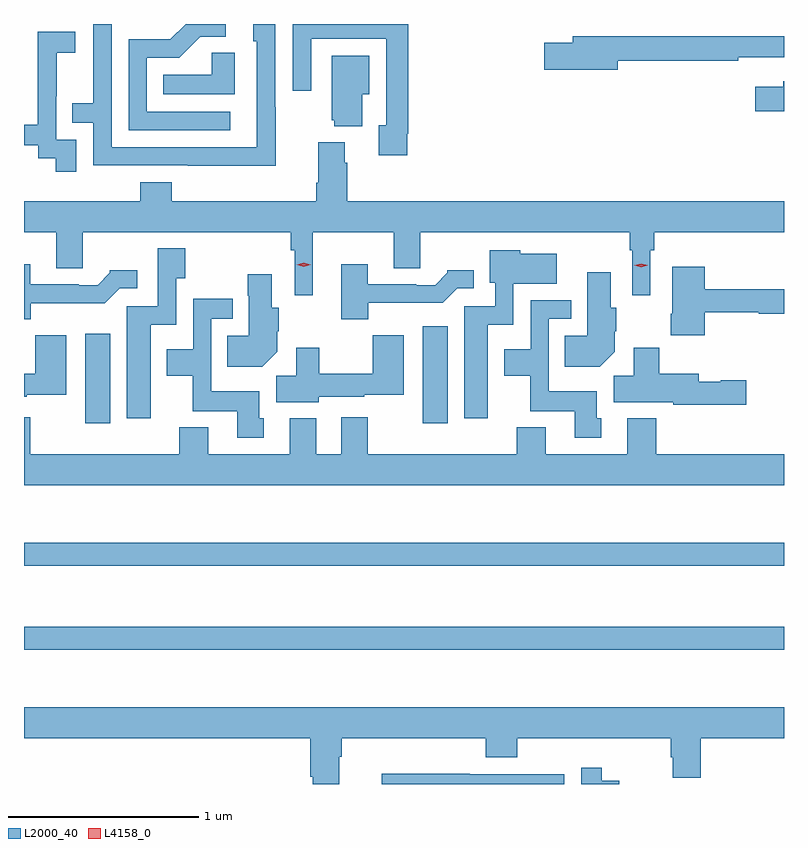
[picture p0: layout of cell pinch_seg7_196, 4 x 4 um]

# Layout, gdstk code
import gdstk
lib = gdstk.Library(unit=1e-6, precision=1e-09)
def R(c, l, rs):  # rectangles x0, y0, x1, y1
    for r in rs: c.add(gdstk.rectangle(r[:2], r[2:], *l))
def P(c, l, *ps):  # polygons
    for p in ps: c.add(gdstk.Polygon(p, *l))
L2000_40 = (2000, 40)
L4158_0 = (4158, 0)

pinch_seg7_196 = lib.new_cell('pinch_seg7_196')
R(pinch_seg7_196, L2000_40, [(658.324,1069.014,662.324,1069.135), (658.324,1069.458,662.324,1069.579), (658.646,1070.208,658.777,1070.677), (660.422,1070.208,660.553,1070.716)])
P(pinch_seg7_196, L2000_40, [(660.34,1071.73),(660.347,1071.73),(660.347,1072.308),(659.739,1072.308),(659.739,1071.957),(659.835,1071.957),(659.835,1072.23),(660.231,1072.23),(660.231,1071.774),(660.191,1071.774),(660.191,1071.618),(660.34,1071.618)],
  [(659.649,1071.869),(659.646,1071.869),(659.646,1072.308),(659.531,1072.308),(659.531,1072.218),(659.55,1072.218),(659.55,1071.66),(658.785,1071.66),(658.785,1072.308),(658.689,1072.308),(658.689,1071.89),(658.579,1071.89),(658.579,1071.789),(658.689,1071.789),(658.689,1071.564),(659.185,1071.564),(659.185,1071.563),(659.649,1071.563)],
  [(659.41,1071.846),(658.971,1071.846),(658.971,1072.131),(659.14,1072.131),(659.251,1072.242),(659.386,1072.242),(659.386,1072.308),(659.175,1072.308),(659.094,1072.227),(658.875,1072.227),(658.875,1071.75),(659.41,1071.75)],
  [(658.599,1071.699),(658.494,1071.699),(658.494,1071.929),(658.496,1071.929),(658.496,1072.157),(658.594,1072.157),(658.594,1072.267),(658.396,1072.267),(658.396,1072.061),(658.397,1072.061),(658.397,1071.778),(658.324,1071.778),(658.324,1071.669),(658.398,1071.669),(658.398,1071.601),(658.491,1071.601),(658.491,1071.531),(658.599,1071.531)],
  [(661.45,1072.114),(662.084,1072.114),(662.084,1072.134),(662.324,1072.134),(662.324,1072.243),(661.211,1072.243),(661.211,1072.209),(661.062,1072.209),(661.062,1072.067),(661.45,1072.067)],
  [(659.434,1072.157),(659.313,1072.157),(659.313,1072.042),(659.056,1072.042),(659.056,1071.938),(659.434,1071.938)],
  [(660.103,1071.938),(660.142,1071.938),(660.142,1072.141),(659.945,1072.141),(659.945,1071.801),(659.957,1071.801),(659.957,1071.77),(660.103,1071.77)],
  [(662.324,1072.008),(662.321,1072.008),(662.321,1071.979),(662.172,1071.979),(662.172,1071.85),(662.324,1071.85)],
  [(659.845,1071.212),(660.269,1071.212),(660.269,1071.022),(660.409,1071.022),(660.409,1071.212),(661.512,1071.212),(661.512,1071.116),(661.524,1071.116),(661.524,1070.88),(661.62,1070.88),(661.62,1071.116),(661.64,1071.116),(661.64,1071.212),(662.324,1071.212),(662.324,1071.376),(660.026,1071.376),(660.026,1071.578),(660.013,1071.578),(660.013,1071.685),(659.873,1071.685),(659.873,1071.472),(659.861,1071.472),(659.861,1071.376),(659.102,1071.376),(659.102,1071.475),(658.937,1071.475),(658.937,1071.376),(658.324,1071.376),(658.324,1071.212),(658.493,1071.212),(658.493,1071.022),(658.633,1071.022),(658.633,1071.212),(659.728,1071.212),(659.728,1071.116),(659.748,1071.116),(659.748,1070.88),(659.845,1070.88)],
  [(658.99,1070.726),(659.124,1070.726),(659.124,1070.971),(659.172,1070.971),(659.172,1071.127),(659.028,1071.127),(659.028,1070.823),(658.865,1070.823),(658.865,1070.232),(658.99,1070.232)],
  [(660.766,1070.726),(660.9,1070.726),(660.9,1070.942),(661.129,1070.942),(661.129,1071.1),(660.936,1071.1),(660.936,1071.118),(660.776,1071.118),(660.776,1070.946),(660.804,1070.946),(660.804,1070.823),(660.641,1070.823),(660.641,1070.232),(660.766,1070.232)],
  [(660.136,1070.84),(660.527,1070.84),(660.603,1070.916),(660.691,1070.916),(660.691,1071.013),(660.552,1071.013),(660.552,1070.998),(660.488,1070.934),(660.389,1070.934),(660.389,1070.937),(660.133,1070.937),(660.133,1071.043),(659.993,1071.043),(659.993,1070.753),(660.136,1070.753)],
  [(658.36,1070.838),(658.749,1070.838),(658.827,1070.916),(658.921,1070.916),(658.921,1071.013),(658.776,1071.013),(658.776,1070.998),(658.712,1070.934),(658.613,1070.934),(658.613,1070.937),(658.357,1070.937),(658.357,1071.043),(658.324,1071.043),(658.324,1070.753),(658.36,1070.753)],
  [(661.907,1070.79),(662.19,1070.79),(662.19,1070.782),(662.324,1070.782),(662.324,1070.911),(661.907,1070.911),(661.907,1071.031),(661.736,1071.031),(661.736,1070.782),(661.729,1070.782),(661.729,1070.67),(661.907,1070.67)],
  [(661.432,1070.582),(661.432,1070.692),(661.44,1070.692),(661.44,1070.814),(661.411,1070.814),(661.411,1071.001),(661.289,1071.001),(661.289,1070.668),(661.171,1070.668),(661.171,1070.504),(661.354,1070.504)],
  [(659.656,1070.582),(659.656,1070.692),(659.664,1070.692),(659.664,1070.814),(659.629,1070.814),(659.629,1070.992),(659.502,1070.992),(659.502,1070.879),(659.507,1070.879),(659.507,1070.668),(659.395,1070.668),(659.395,1070.504),(659.578,1070.504)],
  [(659.587,1070.232),(659.563,1070.232),(659.563,1070.374),(659.31,1070.374),(659.31,1070.757),(659.422,1070.757),(659.422,1070.863),(659.214,1070.863),(659.214,1070.596),(659.075,1070.596),(659.075,1070.456),(659.212,1070.456),(659.212,1070.27),(659.447,1070.27),(659.447,1070.13),(659.587,1070.13)],
  [(661.363,1070.232),(661.339,1070.232),(661.339,1070.374),(661.086,1070.374),(661.086,1070.757),(661.204,1070.757),(661.204,1070.853),(660.99,1070.853),(660.99,1070.596),(660.851,1070.596),(660.851,1070.456),(660.988,1070.456),(660.988,1070.27),(661.223,1070.27),(661.223,1070.13),(661.363,1070.13)],
  [(659.874,1070.345),(660.114,1070.345),(660.114,1070.357),(660.322,1070.357),(660.322,1070.671),(660.16,1070.671),(660.16,1070.467),(659.878,1070.467),(659.878,1070.605),(659.756,1070.605),(659.756,1070.456),(659.651,1070.456),(659.651,1070.318),(659.874,1070.318)],
  [(658.338,1070.357),(658.546,1070.357),(658.546,1070.671),(658.384,1070.671),(658.384,1070.467),(658.324,1070.467),(658.324,1070.345),(658.338,1070.345)],
  [(662.125,1070.433),(661.992,1070.433),(661.992,1070.425),(661.876,1070.425),(661.876,1070.467),(661.667,1070.467),(661.667,1070.605),(661.532,1070.605),(661.532,1070.456),(661.427,1070.456),(661.427,1070.318),(661.74,1070.318),(661.74,1070.303),(662.125,1070.303)],
  [(662.324,1070.044),(661.652,1070.044),(661.652,1070.233),(661.499,1070.233),(661.499,1070.044),(661.069,1070.044),(661.069,1070.185),(660.917,1070.185),(660.917,1070.044),(660.133,1070.044),(660.133,1070.239),(659.993,1070.239),(659.993,1070.044),(659.863,1070.044),(659.863,1070.233),(659.723,1070.233),(659.723,1070.044),(659.293,1070.044),(659.293,1070.185),(659.141,1070.185),(659.141,1070.044),(658.357,1070.044),(658.357,1070.239),(658.324,1070.239),(658.324,1069.88),(662.324,1069.88)],
  [(658.324,1068.548),(659.831,1068.548),(659.831,1068.346),(659.843,1068.346),(659.843,1068.308),(659.983,1068.308),(659.983,1068.452),(659.996,1068.452),(659.996,1068.548),(660.755,1068.548),(660.755,1068.449),(660.92,1068.449),(660.92,1068.548),(661.727,1068.548),(661.727,1068.45),(661.739,1068.45),(661.739,1068.34),(661.887,1068.34),(661.887,1068.548),(662.324,1068.548),(662.324,1068.712),(658.324,1068.712)],
  [(661.458,1068.324),(661.366,1068.324),(661.366,1068.394),(661.257,1068.394),(661.257,1068.308),(661.458,1068.308)],
  [(661.167,1068.36),(660.671,1068.36),(660.671,1068.362),(660.208,1068.362),(660.208,1068.308),(661.167,1068.308)])
P(pinch_seg7_196, L4158_0, [(661.572,1071.027),(661.537,1071.037),(661.536,1071.037),(661.537,1071.037),(661.572,1071.047),(661.608,1071.037),(661.608,1071.037),(661.608,1071.037)],
  [(659.796,1071.031),(659.76,1071.041),(659.76,1071.041),(659.76,1071.041),(659.796,1071.051),(659.832,1071.041),(659.832,1071.041),(659.832,1071.041)])

lib.write_gds('pinch_seg7_196.gds')
